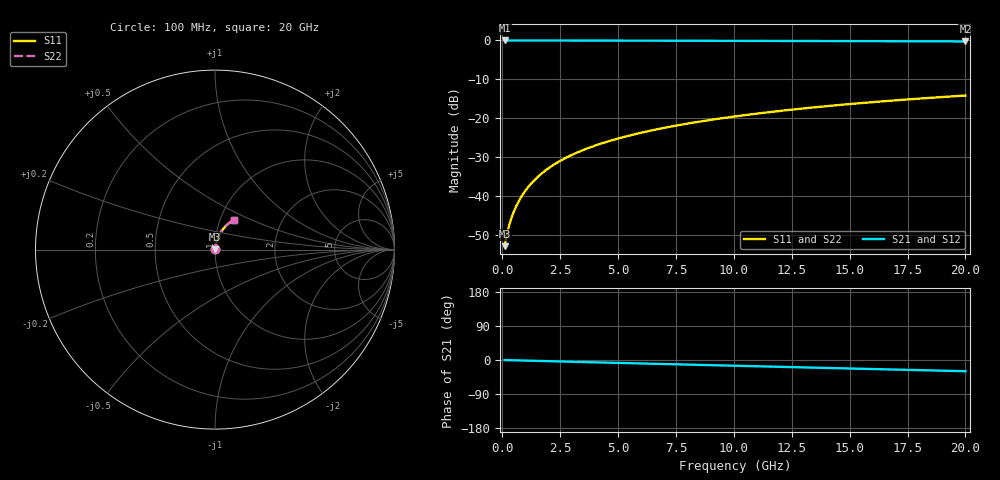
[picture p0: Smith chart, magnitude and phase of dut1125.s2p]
! Touchstone file exported from HFSS 2026.1.0
!  File:  C:/ffzhzh/LocalFiles/Ansys_Project_Files/temp_train_BSMRDL_1125_1783175194_18472.aedt
!  Generated:  10:27:53 PM Jul  4, 2026
!  Design:  BSMRDL
!  Project:  temp_train_BSMRDL_1125_1783175194_18472
! Variables:
!  h_bsmrdl = 4.95um
!  h_ox = 20um
!  h_rdl = 5um
!  h_sub = 80um
!  h_tmrdl = 5um
!  h_tsv = 80um
!  h_via = 3um
!  l_bsmrdl = 475.44um
!  l_sub = 875.44um
!  l_tmrdl = 200um
!  m_sub = 200um
!  pitch = 34.43um
!  r_tsv = 6um
!  s_tmrdl = 10um
!  w_bsmrdl = 20.18um
!  w_sub = 500um
!  w_tmrdl = 12um
!  x_tsv_center1 = 206um
!  x_tsv_center2 = 701.62um
!  x_tsv_center3 = 913.62um
!  x_tsv_center4 = 1409.24um
!  x_tsv_center5 = 1621.24um
!  x_tsv_center6 = 2116.86um
# GHz S MA R 50.000000
! Terminal data exported
! Port[1] = BSM_RDL1_1_T1
! Port[2] = BSM_RDL1_1_T2
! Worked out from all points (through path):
!   200 points, 100 MHz to 20 GHz, reference 50 ohm
!   highest |S21| = -0.02 dB at 100 MHz (marker M1); lowest = -0.3 dB at 20 GHz (marker M2)
!   group delay of S21, straight-line fit = 4.1 ps
!   lowest |S11| = -52.8 dB at 100 MHz (marker M3), VSWR 1.00, Z = 50.2 + j0.134 ohm
!   |S11| at or under -10 dB: start of sweep to end of sweep
!   |S22| runs from -52.8 to -14.1 dB; largest |S21 - S12| = 4.1e-15
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0.1  0.002292 35.6  0.9981 -0.2  0.9981 -0.2  0.002292 35.6
! Gamma 0 0 0 0
! Port Impedance 50 0 50 0
0.2  0.003257 51.7  0.998 -0.3  0.998 -0.3  0.003257 51.7
0.3  0.004279 59.7  0.9979 -0.5  0.9979 -0.5  0.004279 59.7
0.4  0.005316 64.8  0.9978 -0.6  0.9978 -0.6  0.005316 64.8
0.5  0.00637 68.3  0.9977 -0.8  0.9977 -0.8  0.006369 68.3
0.6  0.007439 70.9  0.9977 -0.9  0.9977 -0.9  0.007439 70.9
0.8  0.009616 74.3  0.9976 -1.3  0.9976 -1.3  0.009615 74.3
1.1  0.01293 77.1  0.9974 -1.7  0.9974 -1.7  0.01293 77.1
1.3  0.01516 78.1  0.9973 -2.0  0.9973 -2.0  0.01516 78.1
1.6  0.0185 79.0  0.9971 -2.5  0.9971 -2.5  0.0185 79.0
2.1  0.02405 79.5  0.9967 -3.3  0.9967 -3.3  0.02405 79.5
2.7  0.03065 79.5  0.9962 -4.2  0.9962 -4.2  0.03065 79.5
3.5  0.0393 78.9  0.9953 -5.4  0.9953 -5.4  0.0393 78.9
4.2  0.04675 78.2  0.9945 -6.5  0.9945 -6.5  0.04675 78.2
5  0.05513 77.2  0.9936 -7.7  0.9936 -7.7  0.05513 77.3
5.9  0.06442 76.1  0.9925 -9.0  0.9925 -9.0  0.06442 76.2
6.8  0.07359 75.0  0.9914 -10.4  0.9914 -10.4  0.07359 75.0
8.3  0.08863 73.1  0.9894 -12.6  0.9894 -12.6  0.08862 73.1
10.1  0.1063 70.8  0.987 -15.3  0.987 -15.3  0.1063 70.8
13.4  0.1378 66.4  0.982 -20.1  0.982 -20.1  0.1378 66.4
16.7  0.1678 61.9  0.9765 -24.9  0.9765 -24.9  0.1678 62.0
20  0.1963 57.4  0.9705 -29.6  0.9705 -29.6  0.1963 57.5
